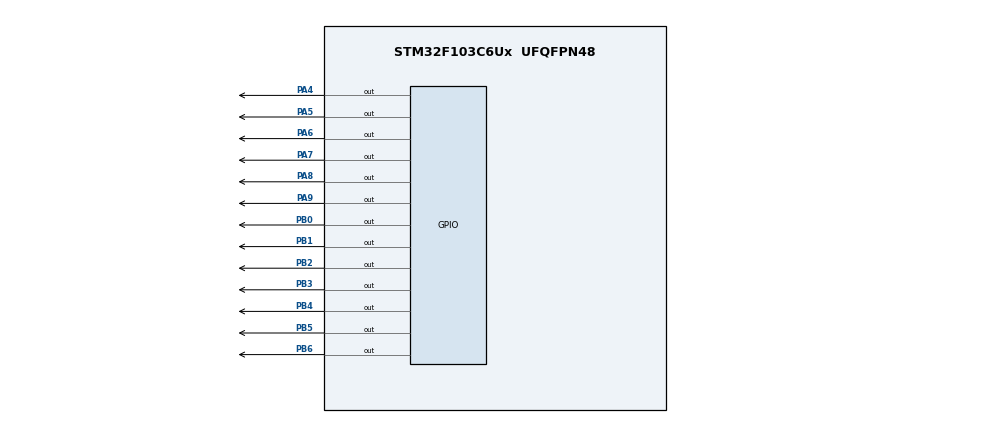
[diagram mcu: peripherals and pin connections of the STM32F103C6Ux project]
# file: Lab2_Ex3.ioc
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Mcu.Family=STM32F1
Mcu.Name=STM32F103C6Ux
Mcu.Package=UFQFPN48
NVIC.PriorityGroup=NVIC_PRIORITYGROUP_4
NVIC.TIM2_IRQn=true\:0\:0\:false\:false\:true\:true\:true
PA4.Signal=GPIO_Output
PA5.Signal=GPIO_Output
PA6.Signal=GPIO_Output
PA7.Signal=GPIO_Output
PA8.Signal=GPIO_Output
PA9.Signal=GPIO_Output
PB0.Signal=GPIO_Output
PB1.Signal=GPIO_Output
PB2.Signal=GPIO_Output
PB3.Signal=GPIO_Output
PB4.Signal=GPIO_Output
PB5.Signal=GPIO_Output
PB6.Signal=GPIO_Output
ProjectManager.HeapSize=0x200
ProjectManager.StackSize=0x400
ProjectManager.TargetToolchain=STM32CubeIDE
RCC.APB1Freq_Value=8000000
RCC.APB2Freq_Value=8000000
TIM2.Period=9
TIM2.Prescaler=7999
VP_SYS_VS_ND.Mode=No_Debug
VP_TIM2_VS_ClockSourceINT.Mode=Internal
board=custom

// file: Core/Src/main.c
/* USER CODE BEGIN Header */
/**
  ******************************************************************************
  * @file           : main.c
  * @brief          : Main program body
  ******************************************************************************
  * @attention
  *
  * <h2><center>&copy; Copyright (c) 2022 STMicroelectronics.
  * All rights reserved.</center></h2>
  *
  * This software component is licensed by ST under BSD 3-Clause license,
  * the "License"; You may not use this file except in compliance with the
  * License. You may obtain a copy of the License at:
  *                        opensource.org/licenses/BSD-3-Clause
  *
  ******************************************************************************
  */
/* USER CODE END Header */
#include "main.h"

/* USER CODE BEGIN Includes */
#include "Led7segment.h"
#include "Update7Seg.h"
#include "updateClockBuffer.h"
/* USER CODE END Includes */

TIM_HandleTypeDef htim2;

void SystemClock_Config(void);
static void MX_GPIO_Init(void);
static void MX_TIM2_Init(void);

/* USER CODE BEGIN 0 */
const int MAX_LED = 4;
int index_led = 0;
int led_buffer [4];
int hour,minute,second;

/* USER CODE END 0 */

int main(void)
{

  /* MCU Configuration--------------------------------------------------------*/

  /* Reset of all peripherals, Initializes the Flash interface and the Systick. */
  HAL_Init();

  /* Configure the system clock */
  SystemClock_Config();

  /* Initialize all configured peripherals */
  MX_GPIO_Init();
  MX_TIM2_Init();
  /* USER CODE BEGIN 2 */
  HAL_TIM_Base_Start_IT (& htim2 );
  /* USER CODE END 2 */

  /* Infinite loop */
  /* USER CODE BEGIN WHILE */
  while (1)
  {
	  second ++;
	  if( second >= 60) {
		  second = 0;
		  minute ++;
	  }
	  if( minute >= 60) {
		  minute = 0;
		  hour ++;
	  }
	  if( hour >=24) {
		  hour = 0;
	  }
	  updateClockBuffer () ;
	  HAL_Delay (10) ;
    /* USER CODE END WHILE */

  }
}

void SystemClock_Config(void)
{
  RCC_OscInitTypeDef RCC_OscInitStruct = {0};
  RCC_ClkInitTypeDef RCC_ClkInitStruct = {0};

  /** Initializes the RCC Oscillators according to the specified parameters
  * in the RCC_OscInitTypeDef structure.
  */
  RCC_OscInitStruct.OscillatorType = RCC_OSCILLATORTYPE_HSI;
  RCC_OscInitStruct.HSIState = RCC_HSI_ON;
  RCC_OscInitStruct.HSICalibrationValue = RCC_HSICALIBRATION_DEFAULT;
  RCC_OscInitStruct.PLL.PLLState = RCC_PLL_NONE;
  if (HAL_RCC_OscConfig(&RCC_OscInitStruct) != HAL_OK)
  {
    Error_Handler();
  }
  /** Initializes the CPU, AHB and APB buses clocks
  */
  RCC_ClkInitStruct.ClockType = RCC_CLOCKTYPE_HCLK|RCC_CLOCKTYPE_SYSCLK
                              |RCC_CLOCKTYPE_PCLK1|RCC_CLOCKTYPE_PCLK2;
  RCC_ClkInitStruct.SYSCLKSource = RCC_SYSCLKSOURCE_HSI;
  RCC_ClkInitStruct.AHBCLKDivider = RCC_SYSCLK_DIV1;
  RCC_ClkInitStruct.APB1CLKDivider = RCC_HCLK_DIV1;
  RCC_ClkInitStruct.APB2CLKDivider = RCC_HCLK_DIV1;

  if (HAL_RCC_ClockConfig(&RCC_ClkInitStruct, FLASH_LATENCY_0) != HAL_OK)
  {
    Error_Handler();
  }
}

static void MX_TIM2_Init(void)
{

  TIM_ClockConfigTypeDef sClockSourceConfig = {0};
  TIM_MasterConfigTypeDef sMasterConfig = {0};

  htim2.Instance = TIM2;
  htim2.Init.Prescaler = 7999;
  htim2.Init.CounterMode = TIM_COUNTERMODE_UP;
  htim2.Init.Period = 9;
  htim2.Init.ClockDivision = TIM_CLOCKDIVISION_DIV1;
  htim2.Init.AutoReloadPreload = TIM_AUTORELOAD_PRELOAD_DISABLE;
  if (HAL_TIM_Base_Init(&htim2) != HAL_OK)
  {
    Error_Handler();
  }
  sClockSourceConfig.ClockSource = TIM_CLOCKSOURCE_INTERNAL;
  if (HAL_TIM_ConfigClockSource(&htim2, &sClockSourceConfig) != HAL_OK)
  {
    Error_Handler();
  }
  sMasterConfig.MasterOutputTrigger = TIM_TRGO_RESET;
  sMasterConfig.MasterSlaveMode = TIM_MASTERSLAVEMODE_DISABLE;
  if (HAL_TIMEx_MasterConfigSynchronization(&htim2, &sMasterConfig) != HAL_OK)
  {
    Error_Handler();
  }

}

static void MX_GPIO_Init(void)
{
  GPIO_InitTypeDef GPIO_InitStruct = {0};

  /* GPIO Ports Clock Enable */
  __HAL_RCC_GPIOA_CLK_ENABLE();
  __HAL_RCC_GPIOB_CLK_ENABLE();

  /*Configure GPIO pin Output Level */
  HAL_GPIO_WritePin(GPIOA, GPIO_PIN_4|GPIO_PIN_5|GPIO_PIN_6|GPIO_PIN_7
                          |GPIO_PIN_8|GPIO_PIN_9, GPIO_PIN_RESET);

  /*Configure GPIO pin Output Level */
  HAL_GPIO_WritePin(GPIOB, GPIO_PIN_0|GPIO_PIN_1|GPIO_PIN_2|GPIO_PIN_3
                          |GPIO_PIN_4|GPIO_PIN_5|GPIO_PIN_6, GPIO_PIN_RESET);

  /*Configure GPIO pins : PA4 PA5 PA6 PA7
                           PA8 PA9 */
  GPIO_InitStruct.Pin = GPIO_PIN_4|GPIO_PIN_5|GPIO_PIN_6|GPIO_PIN_7
                          |GPIO_PIN_8|GPIO_PIN_9;
  GPIO_InitStruct.Mode = GPIO_MODE_OUTPUT_PP;
  GPIO_InitStruct.Pull = GPIO_NOPULL;
  GPIO_InitStruct.Speed = GPIO_SPEED_FREQ_LOW;
  HAL_GPIO_Init(GPIOA, &GPIO_InitStruct);

  /*Configure GPIO pins : PB0 PB1 PB2 PB3
                           PB4 PB5 PB6 */
  GPIO_InitStruct.Pin = GPIO_PIN_0|GPIO_PIN_1|GPIO_PIN_2|GPIO_PIN_3
                          |GPIO_PIN_4|GPIO_PIN_5|GPIO_PIN_6;
  GPIO_InitStruct.Mode = GPIO_MODE_OUTPUT_PP;
  GPIO_InitStruct.Pull = GPIO_NOPULL;
  GPIO_InitStruct.Speed = GPIO_SPEED_FREQ_LOW;
  HAL_GPIO_Init(GPIOB, &GPIO_InitStruct);

}

/* USER CODE BEGIN 4 */
const int counterMax=50;//frequence of leds
int counter = counterMax;
void HAL_TIM_PeriodElapsedCallback ( TIM_HandleTypeDef * htim ){
	counter --;
	if( counter <= 0) {
		counter = counterMax;
		update7SEG(index_led++);
	}

}
/* USER CODE END 4 */

void Error_Handler(void)
{
  __disable_irq();
  while (1)
  {
  }
}

/************************ (C) COPYRIGHT STMicroelectronics *****END OF FILE****/
